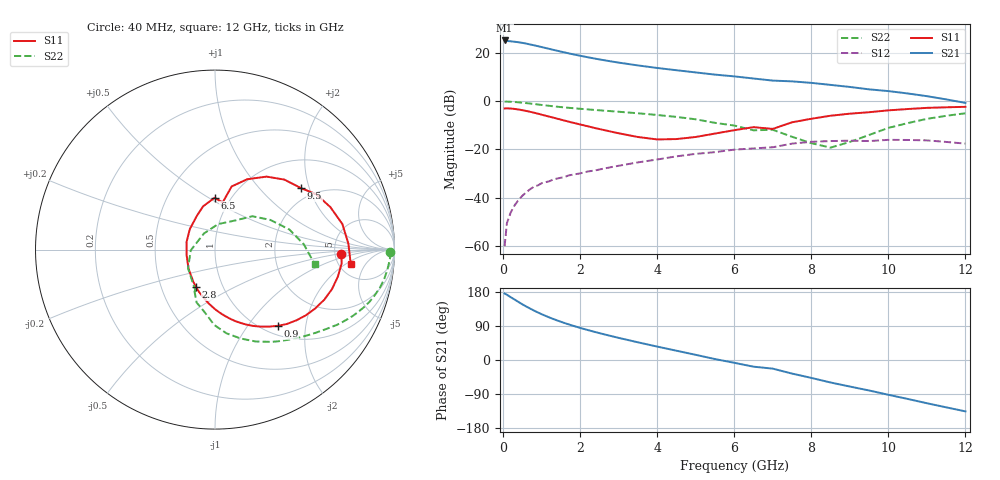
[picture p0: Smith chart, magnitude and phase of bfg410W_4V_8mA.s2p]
! Filename: 48bfg410.001
! BFG410W Field B1
! V1=8.570E-001V,V2=4.000E+000V, I1=1.076E-004A, I2=8.000E-003A
# GHz  S  MA  R 50
!  S11  S21  S12  S22
!Freq(GHz)  Mag  Ang  Mag  Ang  Mag  Ang  Mag  Ang
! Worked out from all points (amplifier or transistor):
!   44 points, 40 MHz to 12 GHz, reference 50 ohm
!   highest |S21| = 25.1 dB at 40 MHz (marker M1)
!   |S21| within 3 dB of that: start of sweep to 1.073 GHz
!   unconditionally stable (mu >= 1): start of sweep to 45.46 MHz; 2.168 GHz to end of sweep
!   at 700 MHz: K = 0.46, MSG = 30.0 dB, |S12| = -36.5 dB
!   at 2.4 GHz: K = 1.07, MAG = 21.5 dB, |S12| = -28.6 dB
!   at 12 GHz: K = 1.52, MAG = 4.1 dB, |S12| = -17.6 dB
!   S11 on the Smith chart (normalised r, x): 40 MHz: 5.69, -0.58; 900 MHz: 1.16, -1.41; 2.8 GHz: 0.75, -0.33; 6.5 GHz: 0.84, +0.53; 9.5 GHz: 1.68, +1.76; 12 GHz: 6.38, -2.48
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0.04  0.704 -2.1  17.94 175.5  0.001 51.0  0.974 -0.8
0.1  0.71 -6.1  17.53 172.2  0.003 77.8  0.976 -3.0
0.2  0.701 -12.4  17.22 165.6  0.005 76.8  0.967 -6.7
0.3  0.688 -18.7  16.88 159.6  0.007 75.6  0.957 -9.8
0.4  0.67 -24.5  16.48 153.1  0.009 72.9  0.943 -13.0
0.5  0.648 -30.3  16 147.0  0.011 70.4  0.926 -15.9
0.6  0.625 -35.8  15.45 141.2  0.013 68.7  0.909 -18.6
0.7  0.601 -41.0  14.84 135.9  0.015 66.3  0.889 -21.2
0.9  0.55 -50.6  13.69 125.7  0.018 63.0  0.851 -25.8
1.2  0.477 -63.2  12.01 112.3  0.022 59.0  0.798 -31.7
1.5  0.414 -74.2  10.55 100.9  0.026 56.1  0.752 -36.6
1.8  0.359 -84.3  9.343 90.9  0.03 54.0  0.715 -41.1
2.2  0.301 -97.0  8.058 79.0  0.035 51.7  0.673 -47.0
2.8  0.234 -116.8  6.624 63.4  0.043 48.1  0.619 -55.7
3.5  0.181 -144.8  5.463 46.7  0.054 42.7  0.56 -66.1
4.5  0.164 165.2  4.345 24.5  0.072 31.9  0.471 -82.2
5.5  0.213 118.4  3.527 2.5  0.088 17.4  0.355 -99.1
6.5  0.289 90.4  2.931 -17.6  0.105 4.1  0.249 -117.9
8.5  0.498 54.7  2.163 -59.4  0.149 -29.3  0.109 124.3
9.5  0.589 35.6  1.748 -80.5  0.149 -49.4  0.199 54.9
10.5  0.685 20.2  1.439 -102.7  0.157 -70.4  0.35 28.2
12  0.761 -6.2  0.917 -135.6  0.132 -109.4  0.56 -8.1
